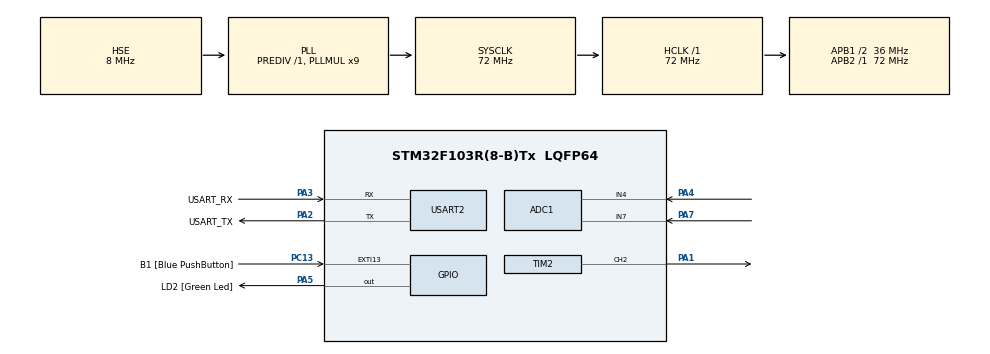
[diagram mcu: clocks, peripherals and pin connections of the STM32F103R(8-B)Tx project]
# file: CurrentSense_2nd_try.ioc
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ADC1.Channel-0\#ChannelRegularConversion=ADC_CHANNEL_7
ADC1.Channel-1\#ChannelInjectedConversion=ADC_CHANNEL_4
ADC1.ContinuousConvMode=ENABLE
ADC1.EnableInjectedConversion=ENABLE
ADC1.ExternalTrigInjecConv=ADC_EXTERNALTRIGINJECCONV_T2_TRGO
ADC1.InjNumberOfConversion=1
ADC1.InjectedConvMode=Discontinuous
ADC1.InjectedOffset-1\#ChannelInjectedConversion=0
ADC1.InjectedRank-1\#ChannelInjectedConversion=1
ADC1.NbrOfConversionFlag=1
ADC1.Rank-0\#ChannelRegularConversion=1
ADC1.SamplingTime-0\#ChannelRegularConversion=ADC_SAMPLETIME_1CYCLE_5
ADC1.SamplingTime-1\#ChannelInjectedConversion=ADC_SAMPLETIME_1CYCLE_5
ADC1.master=1
Mcu.Family=STM32F1
Mcu.Name=STM32F103R(8-B)Tx
Mcu.Package=LQFP64
NVIC.ADC1_2_IRQn=true\:0\:0\:false\:false\:true\:true\:true\:true
NVIC.EXTI15_10_IRQn=true\:0\:0\:false\:false\:true\:true\:true\:true
NVIC.PriorityGroup=NVIC_PRIORITYGROUP_4
PA1.Signal=S_TIM2_CH2
PA13.GPIO_Label=TMS
PA13.Mode=Serial_Wire
PA13.Signal=SYS_JTMS-SWDIO
PA14.GPIO_Label=TCK
PA14.Mode=Serial_Wire
PA14.Signal=SYS_JTCK-SWCLK
PA2.GPIO_Label=USART_TX
PA2.GPIO_Mode=GPIO_MODE_AF_PP
PA2.GPIO_PuPd=GPIO_NOPULL
PA2.GPIO_Speed=GPIO_SPEED_FREQ_LOW
PA2.Mode=Asynchronous
PA2.Signal=USART2_TX
PA3.GPIO_Label=USART_RX
PA3.GPIO_Mode=GPIO_MODE_AF_PP
PA3.GPIO_PuPd=GPIO_NOPULL
PA3.GPIO_Speed=GPIO_SPEED_FREQ_LOW
PA3.Mode=Asynchronous
PA3.Signal=USART2_RX
PA4.Signal=ADCx_IN4
PA5.GPIO_Label=LD2 [Green Led]
PA5.GPIO_ModeDefaultOutputPP=GPIO_MODE_OUTPUT_PP
PA5.GPIO_PuPd=GPIO_NOPULL
PA5.GPIO_Speed=GPIO_SPEED_FREQ_LOW
PA5.Signal=GPIO_Output
PA7.Signal=ADCx_IN7
PB3.GPIO_Label=SWO
PB3.Signal=SYS_JTDO-TRACESWO
PC13-TAMPER-RTC.GPIO_Label=B1 [Blue PushButton]
PC13-TAMPER-RTC.GPIO_PuPd=GPIO_NOPULL
PC13-TAMPER-RTC.Signal=GPXTI13
PC14-OSC32_IN.Mode=LSE-External-Oscillator
PC14-OSC32_IN.Signal=RCC_OSC32_IN
PC15-OSC32_OUT.Mode=LSE-External-Oscillator
PC15-OSC32_OUT.Signal=RCC_OSC32_OUT
PD0-OSC_IN.Mode=HSE-External-Oscillator
PD0-OSC_IN.Signal=RCC_OSC_IN
PD1-OSC_OUT.Mode=HSE-External-Oscillator
PD1-OSC_OUT.Signal=RCC_OSC_OUT
ProjectManager.HeapSize=0x200
ProjectManager.StackSize=0x400
ProjectManager.TargetToolchain=CMake
RCC.ADCPresc=RCC_ADCPCLK2_DIV6
RCC.AHBFreq_Value=72000000
RCC.APB1CLKDivider=RCC_HCLK_DIV2
RCC.APB1Freq_Value=36000000
RCC.APB1TimFreq_Value=72000000
RCC.APB2Freq_Value=72000000
RCC.APB2TimFreq_Value=72000000
RCC.HCLKFreq_Value=72000000
RCC.PLLMUL=RCC_PLL_MUL9
RCC.PLLSourceVirtual=RCC_PLLSOURCE_HSE
RCC.RTCClockSelection=RCC_RTCCLKSOURCE_LSE
RCC.SYSCLKFreq_VALUE=72000000
RCC.SYSCLKSource=RCC_SYSCLKSOURCE_PLLCLK
RCC.USBFreq_Value=72000000
SH.ADCx_IN4.0=ADC1_IN4,IN4
SH.ADCx_IN7.0=ADC1_IN7,IN7
SH.S_TIM2_CH2.0=TIM2_CH2,PWM Generation2 CH2
TIM2.Channel-Output\ Compare1\ No\ Output=TIM_CHANNEL_1
TIM2.Channel-PWM\ Generation2\ CH2=TIM_CHANNEL_2
TIM2.CounterMode=TIM_COUNTERMODE_CENTERALIGNED1
TIM2.Period=4095
TIM2.TIM_MasterOutputTrigger=TIM_TRGO_OC1
USART2.VirtualMode=VM_ASYNC
VP_TIM2_VS_no_output1.Mode=Output Compare1 No Output
board=NUCLEO-F103RB

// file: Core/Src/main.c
/* USER CODE BEGIN Header */
/**
  ******************************************************************************
  * @file           : main.c
  * @brief          : Main program body
  ******************************************************************************
  * @attention
  *
  * Copyright (c) 2025 STMicroelectronics.
  * All rights reserved.
  *
  * This software is licensed under terms that can be found in the LICENSE file
  * in the root directory of this software component.
  * If no LICENSE file comes with this software, it is provided AS-IS.
  *
  ******************************************************************************
  */
/* USER CODE END Header */
#include "main.h"
#include "adc.h"
#include "stm32f1xx_hal.h"
#include "stm32f1xx_hal_adc.h"
#include "stm32f1xx_hal_adc_ex.h"
#include "stm32f1xx_hal_gpio.h"
#include "stm32f1xx_hal_tim.h"
#include "tim.h"
#include "usart.h"
#include "gpio.h"

/* USER CODE BEGIN Includes */

#include <stdio.h>

/* USER CODE END Includes */

/* USER CODE BEGIN PTD */

#define DEBUGGER

/* USER CODE END PTD */

/* USER CODE BEGIN PV */
char UART2_Debugger[60];
char UART2_TxBuffer[30];
volatile uint16_t InjADC_Reading = 0;
uint16_t AD_RES = 0;
float I_dc = 0.0;

/* USER CODE END PV */

void SystemClock_Config(void);

int main(void)
{

  /* MCU Configuration--------------------------------------------------------*/

  /* Reset of all peripherals, Initializes the Flash interface and the Systick. */
  HAL_Init();

  /* Configure the system clock */
  SystemClock_Config();

  /* Initialize all configured peripherals */
  MX_GPIO_Init();
  MX_ADC1_Init();
  MX_TIM2_Init();
  MX_USART2_UART_Init();
  /* USER CODE BEGIN 2 */

  HAL_TIM_PWM_Start(&htim2,TIM_CHANNEL_2);
  HAL_TIM_OC_Start(&htim2, TIM_CHANNEL_1);
  TIM2->CCR1 = 1;
  HAL_ADC_Start(&hadc1);
  HAL_ADCEx_InjectedStart_IT(&hadc1);

  /* USER CODE END 2 */

  /* Infinite loop */
  /* USER CODE BEGIN WHILE */
  while (1)
  {
    HAL_ADC_PollForConversion(&hadc1, 1);
    AD_RES = HAL_ADC_GetValue(&hadc1);
    TIM2->CCR2 = AD_RES;
    I_dc = ((InjADC_Reading * 3.3)/ 4095);
    sprintf(UART2_TxBuffer, "\r\nI_dc = %f mA", I_dc);
    HAL_UART_Transmit(&huart2, (uint8_t*)UART2_TxBuffer, sizeof(UART2_TxBuffer), 10);

#ifdef DEBUGGER
    sprintf(UART2_Debugger, "\r\nDEBUG: InjADC_Reading = %d, AD_RES = %d, I_dc = %f", InjADC_Reading, AD_RES, I_dc);
    HAL_UART_Transmit(&huart2, (uint8_t*)UART2_Debugger, sizeof(UART2_Debugger), 10);
#endif

    HAL_Delay(1);

    /* USER CODE END WHILE */
    //HAL_GPIO_TogglePin(LD2_GPIO_Port, LD2_Pin);
    //HAL_Delay(500);
  }
}

void SystemClock_Config(void)
{
  RCC_OscInitTypeDef RCC_OscInitStruct = {0};
  RCC_ClkInitTypeDef RCC_ClkInitStruct = {0};
  RCC_PeriphCLKInitTypeDef PeriphClkInit = {0};

  /** Initializes the RCC Oscillators according to the specified parameters
  * in the RCC_OscInitTypeDef structure.
  */
  RCC_OscInitStruct.OscillatorType = RCC_OSCILLATORTYPE_HSE;
  RCC_OscInitStruct.HSEState = RCC_HSE_ON;
  RCC_OscInitStruct.HSEPredivValue = RCC_HSE_PREDIV_DIV1;
  RCC_OscInitStruct.HSIState = RCC_HSI_ON;
  RCC_OscInitStruct.PLL.PLLState = RCC_PLL_ON;
  RCC_OscInitStruct.PLL.PLLSource = RCC_PLLSOURCE_HSE;
  RCC_OscInitStruct.PLL.PLLMUL = RCC_PLL_MUL9;
  if (HAL_RCC_OscConfig(&RCC_OscInitStruct) != HAL_OK)
  {
    Error_Handler();
  }

  /** Initializes the CPU, AHB and APB buses clocks
  */
  RCC_ClkInitStruct.ClockType = RCC_CLOCKTYPE_HCLK|RCC_CLOCKTYPE_SYSCLK
                              |RCC_CLOCKTYPE_PCLK1|RCC_CLOCKTYPE_PCLK2;
  RCC_ClkInitStruct.SYSCLKSource = RCC_SYSCLKSOURCE_PLLCLK;
  RCC_ClkInitStruct.AHBCLKDivider = RCC_SYSCLK_DIV1;
  RCC_ClkInitStruct.APB1CLKDivider = RCC_HCLK_DIV2;
  RCC_ClkInitStruct.APB2CLKDivider = RCC_HCLK_DIV1;

  if (HAL_RCC_ClockConfig(&RCC_ClkInitStruct, FLASH_LATENCY_2) != HAL_OK)
  {
    Error_Handler();
  }
  PeriphClkInit.PeriphClockSelection = RCC_PERIPHCLK_ADC;
  PeriphClkInit.AdcClockSelection = RCC_ADCPCLK2_DIV6;
  if (HAL_RCCEx_PeriphCLKConfig(&PeriphClkInit) != HAL_OK)
  {
    Error_Handler();
  }
}

/* USER CODE BEGIN 4 */
void HAL_ADCEx_InjectedConvCpltCallback(ADC_HandleTypeDef* hadc)
{
  HAL_GPIO_WritePin(LD2_GPIO_Port, LD2_Pin, GPIO_PIN_SET);
  InjADC_Reading = HAL_ADCEx_InjectedGetValue(&hadc1, ADC_INJECTED_RANK_1);
  HAL_GPIO_WritePin(LD2_GPIO_Port, LD2_Pin, GPIO_PIN_RESET);
}
/* USER CODE END 4 */

void Error_Handler(void)
{
  __disable_irq();
  while (1)
  {
  }
}
